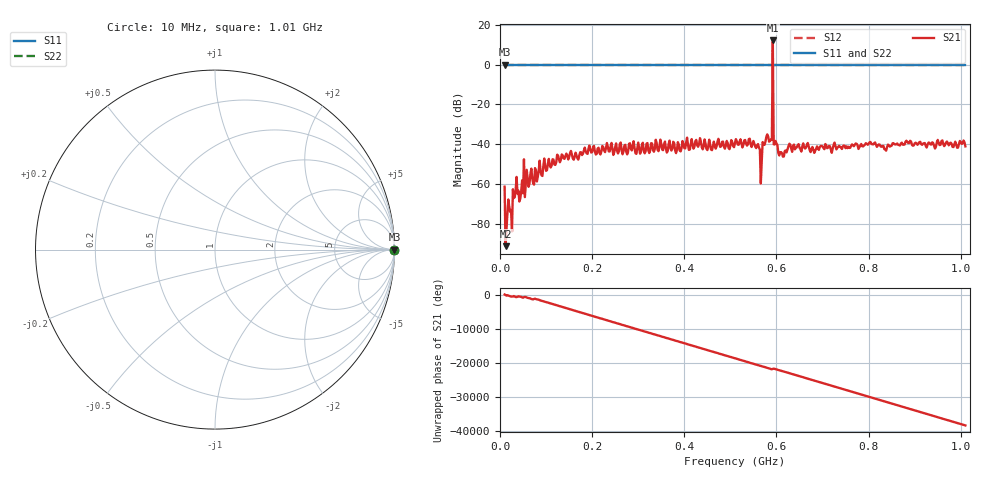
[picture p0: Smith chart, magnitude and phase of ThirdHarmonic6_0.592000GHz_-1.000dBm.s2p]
! 8/15/2025 7:14:41 PM
! C:\ANRITSUVNA\TEMP\TEMP.S2P
! CHANNEL.1
! TR.MEASUREMENT
! RAW.DATA
! RF.CORRECTION.OFF
! AVERAGING.OFF
! IF.BANDWIDTH: 5KHZ
! SWEEPTYPE:  FREQ.SWEEP(Linear)
! Reference Plane Port Info
! PORT:  PORT1  PORT2
! DISTANCE:  0  m  0  m
! TIME:  0  s  0  s
! PHASE.OFFSET:  0  deg.  0  deg.
! LOSS:  0  dB  0  dB
! REF.LOSS:  0  dB  0  dB
! REF.FREQ:  0  Hz  0  Hz
! Power Info
! POWER:  -20  dBm  -20  dBm
! EFF.POWER:  -20  dBm  -20  dBm
! SOURCE.ATTEN:  0  dB  0  dB
! TEST.ATTEN:  0  dB  0  dB
# GHZ S RI R 50.0
! FREQ.GHZ  S11RE  S11IM  S21RE  S21IM  S12RE  S12IM  S22RE  S22IM
!; PortSelection: Port_12
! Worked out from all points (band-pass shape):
!   501 points, 10 MHz to 1.01 GHz, reference 50 ohm
!   highest |S21| = 12.27 dB at 592 MHz (marker M1); lowest = -91.4 dB at 12 MHz (marker M2)
!   |S21| within 3 dB of the highest: 591.8801 MHz to 592.1147 MHz (234.6 kHz wide, 0.0396 % of centre)
!   lowest |S11| = 0.0 dB at 10 MHz (marker M3)
!   |S11| at or under -10 dB: nowhere
!   |S22| runs from 0.0 to 0.0 dB; largest |S21 - S12| = 4.7
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0.01  1 0  -0.000772 0.000353  1 0  1 0
0.012  1 0  2.52e-05 9.3e-06  1 0  1 0
0.022  1 0  0.000172 9.69e-05  1 0  1 0
0.032  1 0  4.31e-05 -0.00046  1 0  1 0
0.042  1 0  7.62e-05 -0.000351  1 0  1 0
0.056  1 0  -0.000649 0.000732  1 0  1 0
0.178  1 0  -0.0053 0.000354  1 0  1 0
0.344  1 0  0.00562 -0.0036  1 0  1 0
0.51  1 0  -0.00856 0.00666  1 0  1 0
0.546  1 0  -0.0025 0.0081  1 0  1 0
0.566  1 0  0.000691 0.000752  1 0  1 0
0.574  1 0  0.000625 0.00955  1 0  1 0
0.586  1 0  0.00622 -0.0102  1 0  1 0
0.588  1 0  -0.0107 -0.00758  1 0  1 0
0.592  1 0  -1.935 -3.62  1 0  1 0
0.596  1 0  -0.00146 -0.00968  1 0  1 0
0.598  1 0  -0.0119 0.00147  1 0  1 0
0.612  1 0  0.00523 -0.00281  1 0  1 0
0.628  1 0  0.0037 0.00956  1 0  1 0
0.678  1 0  -0.00749 -0.00399  1 0  1 0
0.844  1 0  0.00859 0.0035  1 0  1 0
1.01  1 0  -0.00863 0.00163  1 0  1 0
